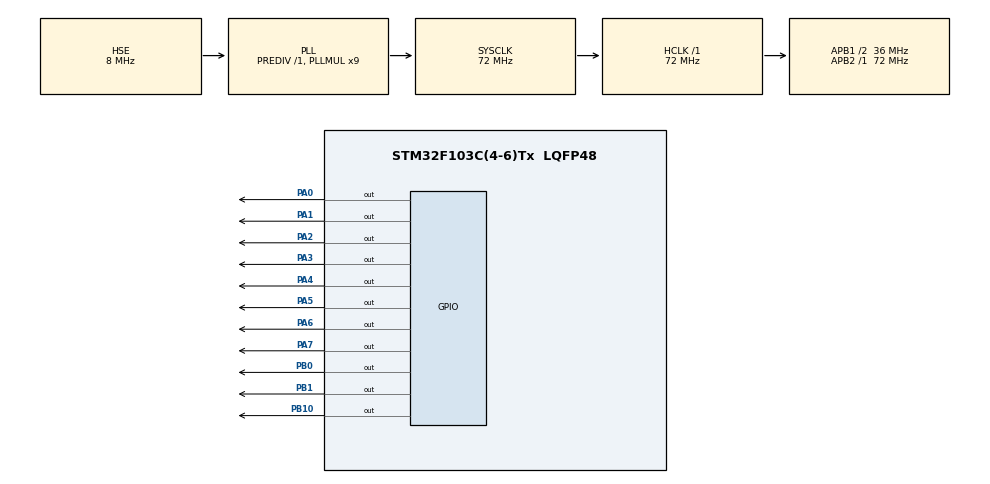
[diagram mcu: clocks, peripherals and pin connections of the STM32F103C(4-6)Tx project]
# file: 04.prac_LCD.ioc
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Mcu.Family=STM32F1
Mcu.Name=STM32F103C(4-6)Tx
Mcu.Package=LQFP48
NVIC.PriorityGroup=NVIC_PRIORITYGROUP_4
PA0-WKUP.Signal=GPIO_Output
PA1.Signal=GPIO_Output
PA13.Mode=Serial_Wire
PA13.Signal=SYS_JTMS-SWDIO
PA14.Mode=Serial_Wire
PA14.Signal=SYS_JTCK-SWCLK
PA2.Signal=GPIO_Output
PA3.Signal=GPIO_Output
PA4.Signal=GPIO_Output
PA5.Signal=GPIO_Output
PA6.Signal=GPIO_Output
PA7.Signal=GPIO_Output
PB0.Signal=GPIO_Output
PB1.Signal=GPIO_Output
PB10.Signal=GPIO_Output
PD0-OSC_IN.Mode=HSE-External-Oscillator
PD0-OSC_IN.Signal=RCC_OSC_IN
PD1-OSC_OUT.Mode=HSE-External-Oscillator
PD1-OSC_OUT.Signal=RCC_OSC_OUT
ProjectManager.HeapSize=0x200
ProjectManager.StackSize=0x400
ProjectManager.TargetToolchain=STM32CubeIDE
RCC.AHBFreq_Value=72000000
RCC.APB1CLKDivider=RCC_HCLK_DIV2
RCC.APB1Freq_Value=36000000
RCC.APB1TimFreq_Value=72000000
RCC.APB2Freq_Value=72000000
RCC.APB2TimFreq_Value=72000000
RCC.HCLKFreq_Value=72000000
RCC.PLLMUL=RCC_PLL_MUL9
RCC.PLLSourceVirtual=RCC_PLLSOURCE_HSE
RCC.SYSCLKFreq_VALUE=72000000
RCC.SYSCLKSource=RCC_SYSCLKSOURCE_PLLCLK
RCC.USBFreq_Value=72000000
board=custom

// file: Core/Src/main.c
/* USER CODE BEGIN Header */
/**
  ******************************************************************************
  * @file           : main.c
  * @brief          : Main program body
  ******************************************************************************
  * @attention
  *
  * Copyright (c) 2025 STMicroelectronics.
  * All rights reserved.
  *
  * This software is licensed under terms that can be found in the LICENSE file
  * in the root directory of this software component.
  * If no LICENSE file comes with this software, it is provided AS-IS.
  *
  ******************************************************************************
  */
/* USER CODE END Header */
#include "main.h"

/* USER CODE BEGIN PD */

#define MDATA 	0x01
#define MCMD	0x00

/* USER CODE END PD */

void SystemClock_Config(void);
static void MX_GPIO_Init(void);
/* USER CODE BEGIN PFP */

void LCD_init();
void LCD_Write_byte(uint8_t data, uint8_t mode);
void LCD_Write_data(uint8_t data);
void LCD_Write_cmd(uint8_t data);
void LCD_printf(char *str);

/* USER CODE END PFP */

/* USER CODE BEGIN 0 */
void LCD_init() {
	HAL_Delay(50);
	LCD_Write_cmd(0x38);
	HAL_Delay(50);
	LCD_Write_cmd(0x0C);
	HAL_Delay(50);
	LCD_Write_cmd(0x01);
	HAL_Delay(50);
	LCD_Write_cmd(0x06);
	HAL_Delay(50);
}

void LCD_Write_byte(uint8_t data, uint8_t mode) {
	if (mode == MDATA) {
		//DATA
		HAL_GPIO_WritePin(GPIOB, GPIO_PIN_0, GPIO_PIN_SET);
	}
	else if (mode == MCMD) {
		// CMD
		HAL_GPIO_WritePin(GPIOB, GPIO_PIN_0, GPIO_PIN_RESET);
	}

	HAL_GPIO_WritePin(GPIOA, GPIO_PIN_0, (data & 0x01) ? GPIO_PIN_SET : GPIO_PIN_RESET);
	HAL_GPIO_WritePin(GPIOA, GPIO_PIN_1, (data & 0x02) ? GPIO_PIN_SET : GPIO_PIN_RESET);
	HAL_GPIO_WritePin(GPIOA, GPIO_PIN_2, (data & 0x04) ? GPIO_PIN_SET : GPIO_PIN_RESET);
	HAL_GPIO_WritePin(GPIOA, GPIO_PIN_3, (data & 0x08) ? GPIO_PIN_SET : GPIO_PIN_RESET);
	HAL_GPIO_WritePin(GPIOA, GPIO_PIN_4, (data & 0x10) ? GPIO_PIN_SET : GPIO_PIN_RESET);
	HAL_GPIO_WritePin(GPIOA, GPIO_PIN_5, (data & 0x20) ? GPIO_PIN_SET : GPIO_PIN_RESET);
	HAL_GPIO_WritePin(GPIOA, GPIO_PIN_6, (data & 0x40) ? GPIO_PIN_SET : GPIO_PIN_RESET);
	HAL_GPIO_WritePin(GPIOA, GPIO_PIN_7, (data & 0x80) ? GPIO_PIN_SET : GPIO_PIN_RESET);

	HAL_GPIO_WritePin(GPIOB, GPIO_PIN_10, GPIO_PIN_RESET);
	HAL_Delay(1);
	HAL_GPIO_WritePin(GPIOB, GPIO_PIN_10, GPIO_PIN_SET);
	HAL_Delay(1);
	HAL_GPIO_WritePin(GPIOB, GPIO_PIN_10, GPIO_PIN_RESET);
	HAL_Delay(1);
}

void LCD_Write_data(uint8_t data) {
	LCD_Write_byte(data, MDATA);
}

void LCD_Write_cmd(uint8_t data) {
	LCD_Write_byte(data, MCMD);
}

void LCD_printf(char *str) {
	while (*str) {
		LCD_Write_data(*str++);
	}
}

/* USER CODE END 0 */

int main(void)
{

  /* MCU Configuration--------------------------------------------------------*/

  /* Reset of all peripherals, Initializes the Flash interface and the Systick. */
  HAL_Init();

  /* Configure the system clock */
  SystemClock_Config();

  /* Initialize all configured peripherals */
  MX_GPIO_Init();
  /* USER CODE BEGIN 2 */
  HAL_GPIO_WritePin(GPIOB, GPIO_PIN_0, GPIO_PIN_RESET);		//RW
  LCD_init();
  LCD_printf("hello world");

  /* USER CODE END 2 */

  /* Infinite loop */
  while (1)
  {

  }
}

void SystemClock_Config(void)
{
  RCC_OscInitTypeDef RCC_OscInitStruct = {0};
  RCC_ClkInitTypeDef RCC_ClkInitStruct = {0};

  /** Initializes the RCC Oscillators according to the specified parameters
  * in the RCC_OscInitTypeDef structure.
  */
  RCC_OscInitStruct.OscillatorType = RCC_OSCILLATORTYPE_HSE;
  RCC_OscInitStruct.HSEState = RCC_HSE_ON;
  RCC_OscInitStruct.HSEPredivValue = RCC_HSE_PREDIV_DIV1;
  RCC_OscInitStruct.HSIState = RCC_HSI_ON;
  RCC_OscInitStruct.PLL.PLLState = RCC_PLL_ON;
  RCC_OscInitStruct.PLL.PLLSource = RCC_PLLSOURCE_HSE;
  RCC_OscInitStruct.PLL.PLLMUL = RCC_PLL_MUL9;
  if (HAL_RCC_OscConfig(&RCC_OscInitStruct) != HAL_OK)
  {
    Error_Handler();
  }

  /** Initializes the CPU, AHB and APB buses clocks
  */
  RCC_ClkInitStruct.ClockType = RCC_CLOCKTYPE_HCLK|RCC_CLOCKTYPE_SYSCLK
                              |RCC_CLOCKTYPE_PCLK1|RCC_CLOCKTYPE_PCLK2;
  RCC_ClkInitStruct.SYSCLKSource = RCC_SYSCLKSOURCE_PLLCLK;
  RCC_ClkInitStruct.AHBCLKDivider = RCC_SYSCLK_DIV1;
  RCC_ClkInitStruct.APB1CLKDivider = RCC_HCLK_DIV2;
  RCC_ClkInitStruct.APB2CLKDivider = RCC_HCLK_DIV1;

  if (HAL_RCC_ClockConfig(&RCC_ClkInitStruct, FLASH_LATENCY_2) != HAL_OK)
  {
    Error_Handler();
  }
}

static void MX_GPIO_Init(void)
{
  GPIO_InitTypeDef GPIO_InitStruct = {0};

  /* GPIO Ports Clock Enable */
  __HAL_RCC_GPIOD_CLK_ENABLE();
  __HAL_RCC_GPIOA_CLK_ENABLE();
  __HAL_RCC_GPIOB_CLK_ENABLE();

  /*Configure GPIO pin Output Level */
  HAL_GPIO_WritePin(GPIOA, GPIO_PIN_0|GPIO_PIN_1|GPIO_PIN_2|GPIO_PIN_3
                          |GPIO_PIN_4|GPIO_PIN_5|GPIO_PIN_6|GPIO_PIN_7, GPIO_PIN_RESET);

  /*Configure GPIO pin Output Level */
  HAL_GPIO_WritePin(GPIOB, GPIO_PIN_0|GPIO_PIN_1|GPIO_PIN_10, GPIO_PIN_RESET);

  /*Configure GPIO pins : PA0 PA1 PA2 PA3
                           PA4 PA5 PA6 PA7 */
  GPIO_InitStruct.Pin = GPIO_PIN_0|GPIO_PIN_1|GPIO_PIN_2|GPIO_PIN_3
                          |GPIO_PIN_4|GPIO_PIN_5|GPIO_PIN_6|GPIO_PIN_7;
  GPIO_InitStruct.Mode = GPIO_MODE_OUTPUT_PP;
  GPIO_InitStruct.Pull = GPIO_NOPULL;
  GPIO_InitStruct.Speed = GPIO_SPEED_FREQ_LOW;
  HAL_GPIO_Init(GPIOA, &GPIO_InitStruct);

  /*Configure GPIO pins : PB0 PB1 PB10 */
  GPIO_InitStruct.Pin = GPIO_PIN_0|GPIO_PIN_1|GPIO_PIN_10;
  GPIO_InitStruct.Mode = GPIO_MODE_OUTPUT_PP;
  GPIO_InitStruct.Pull = GPIO_NOPULL;
  GPIO_InitStruct.Speed = GPIO_SPEED_FREQ_LOW;
  HAL_GPIO_Init(GPIOB, &GPIO_InitStruct);

}

void Error_Handler(void)
{
  __disable_irq();
  while (1)
  {
  }
}
